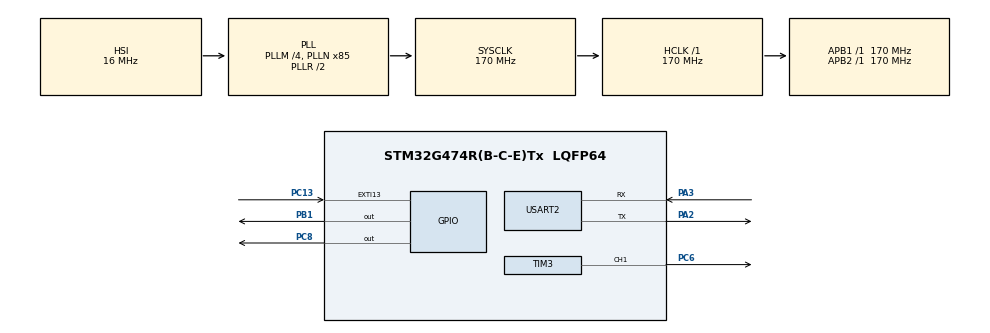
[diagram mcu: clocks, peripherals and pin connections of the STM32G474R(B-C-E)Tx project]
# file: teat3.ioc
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Mcu.Family=STM32G4
Mcu.Name=STM32G474R(B-C-E)Tx
Mcu.Package=LQFP64
NVIC.EXTI15_10_IRQn=true\:1\:0\:true\:false\:true\:true\:true\:true
NVIC.PriorityGroup=NVIC_PRIORITYGROUP_4
PA13.GPIO_Label=T_SWDIO
PA13.Signal=SYS_JTMS-SWDIO
PA14.GPIO_Label=T_SWCLK
PA14.Signal=SYS_JTCK-SWCLK
PA2.Mode=Asynchronous
PA2.Signal=USART2_TX
PA3.Mode=Asynchronous
PA3.Signal=USART2_RX
PB1.Signal=GPIO_Output
PB3.GPIO_Label=T_SWO
PB3.Signal=SYS_JTDO-SWO
PC13.GPIO_ModeDefaultEXTI=GPIO_MODE_IT_FALLING
PC13.Signal=GPXTI13
PC14-OSC32_IN.GPIO_Label=RCC_OSC32_IN
PC14-OSC32_IN.Signal=RCC_OSC32_IN
PC15-OSC32_OUT.GPIO_Label=RCC_OSC32_OUT
PC15-OSC32_OUT.Signal=RCC_OSC32_OUT
PC6.Signal=S_TIM3_CH1
PC8.Signal=GPIO_Output
PF0-OSC_IN.GPIO_Label=RCC_OSC_IN
PF0-OSC_IN.Signal=RCC_OSC_IN
PF1-OSC_OUT.GPIO_Label=RCC_OSC_OUT
PF1-OSC_OUT.Signal=RCC_OSC_OUT
ProjectManager.HeapSize=0x200
ProjectManager.StackSize=0x400
ProjectManager.TargetToolchain=STM32CubeIDE
RCC.ADC12Freq_Value=170000000
RCC.ADC345Freq_Value=170000000
RCC.AHBFreq_Value=170000000
RCC.APB1Freq_Value=170000000
RCC.APB1TimFreq_Value=170000000
RCC.APB2Freq_Value=170000000
RCC.APB2TimFreq_Value=170000000
RCC.CortexFreq_Value=170000000
RCC.EXTERNAL_CLOCK_VALUE=12288000
RCC.HCLKFreq_Value=170000000
RCC.HSE_VALUE=24000000
RCC.HSI48_VALUE=48000000
RCC.HSI_VALUE=16000000
RCC.LSE_VALUE=32768
RCC.PLLM=RCC_PLLM_DIV4
RCC.PLLN=85
RCC.RTCClockSelection=RCC_RTCCLKSOURCE_LSE
RCC.SYSCLKFreq_VALUE=170000000
RCC.SYSCLKSource=RCC_SYSCLKSOURCE_PLLCLK
RCC.USBFreq_Value=170000000
RCC.VCOOutputFreq_Value=340000000
SH.S_TIM3_CH1.0=TIM3_CH1,PWM Generation1 CH1
TIM3.Channel-PWM\ Generation1\ CH1=TIM_CHANNEL_1
TIM3.Prescaler=169
USART2.VirtualMode-Asynchronous=VM_ASYNC
VP_SYS_VS_DBSignals.Mode=DisableDeadBatterySignals
board=NUCLEO-G474RE

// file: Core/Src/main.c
/* USER CODE BEGIN Header */
/**
  ******************************************************************************
  * @file           : main.c
  * @brief          : 30秒或輸錯5次雙燈恆亮（PC13直接關燈）
  ******************************************************************************
  * @attention
  *
  * Copyright (c) 2026 STMicroelectronics.
  * All rights reserved.
  *
  * This software is licensed under terms that can be found in the LICENSE file
  * in the root directory of this software component.
  * If no LICENSE file comes with this software, it is provided AS-IS.
  *
  ******************************************************************************
  */
/* USER CODE END Header */
#include "main.h"
#include <string.h>   // strlen()、strcmp()
#include <stdio.h>    // snprintf()
TIM_HandleTypeDef htim3;
UART_HandleTypeDef huart2;
/* USER CODE BEGIN PV */
uint8_t rx;
char password[32];
uint8_t index_rx = 0;
volatile uint8_t button_event = 0;
volatile uint32_t button_tick = 0;
uint8_t alarm_on = 1;
uint8_t errors = 0;
uint8_t duty = 0;
uint8_t direction = 1;
uint32_t blink_ms = 500;
uint32_t blink_tick = 0;
uint32_t breath_tick = 0;
/* HAL_GetTick()單位為毫秒，30000ms = 30秒。
   challenge_timeout=1代表逾時且雙燈恆亮；
   alarm_on=0代表一般閃爍/呼吸不再執行。 */
#define CHALLENGE_TIMEOUT_MS 30000UL
uint32_t challenge_start_tick = 0;
uint8_t challenge_timeout = 0;
uint8_t attempts_exhausted = 0; /* 錯5次鎖定 */
uint8_t buzzer_active = 0;
uint32_t buzzer_start_tick = 0;
/* USER CODE END PV */
void SystemClock_Config(void);
static void MX_GPIO_Init(void);
static void MX_TIM3_Init(void);
static void MX_USART2_UART_Init(void);
/* USER CODE BEGIN 0 */
/* 本程式使用：
   PC8：外接警示LED，GPIO輸出。
   PC6：TIM3_CH1，PWM控制外接LED。
   PC13：USER按鈕，EXTI下降緣中斷。
   USART2：115200、8N1，透過ST-LINK虛擬COM輸入密碼。
   注意：外部中斷處理函式和TIM3/USART2底層腳位配置
   仍需保留CubeIDE專案其他自動產生的檔案。
   PWM腳位於本檔直接設定為PC6，不呼叫原本的PA6 PostInit。 */
/* PB1 控制有源蜂鳴器（僅提供控制訊號，接線須符合電氣規格）。 */
void BuzzerStop(void)
{
    HAL_GPIO_WritePin(GPIOB, GPIO_PIN_1, GPIO_PIN_RESET);
    buzzer_active = 0;
}

void BuzzerStart2s(void)
{
    buzzer_start_tick = HAL_GetTick();
    buzzer_active = 1;
    HAL_GPIO_WritePin(GPIOB, GPIO_PIN_1, GPIO_PIN_SET);
}

void BuzzerUpdate(void)
{
    if (buzzer_active &&
        (uint32_t)(HAL_GetTick() - buzzer_start_tick) >= 2000UL)
    {
        BuzzerStop();
    }
}

void Send(char *s)
{
    HAL_UART_Transmit(&huart2,
        (uint8_t *)s, strlen(s), 100);
}
/* TIM3_CH1 PWM占空比：ARR=999，percent*10約對應0~100%。
   PC6接外部LED（需串聯限流電阻），數值越大越亮。 */
void SetPWM(uint8_t percent)
{
    if (percent > 100) percent = 100;
    __HAL_TIM_SET_COMPARE(&htim3,
        TIM_CHANNEL_1, percent * 10);
}
/* 停止挑戰：alarm_on=0 使主迴圈不再閃爍或呼吸；
   PC8 輸出低電位、PC6 PWM 占空比設為0，兩顆燈熄滅。
   PC13 按下與正確密碼都會呼叫此函式。 */
void StopAlarm(void)
{
    BuzzerStop();
    alarm_on = 0;
    challenge_timeout = 0;
    attempts_exhausted = 0;
    duty = 0;
    HAL_GPIO_WritePin(GPIOC, GPIO_PIN_8,
                      GPIO_PIN_RESET);
    SetPWM(0);
}
/* 初始化挑戰：重設錯誤次數、呼吸方向、閃爍間隔；
   記錄 HAL_GetTick() 當作30秒倒數起點。
   本版本只在開機時呼叫，不會由 PC13 重新啟動。 */
void StartAlarm(void)
{
    BuzzerStop();
    alarm_on = 1;
    challenge_timeout = 0;
    attempts_exhausted = 0;
    challenge_start_tick = HAL_GetTick();
    errors = 0;
    duty = 0;
    direction = 1;
    blink_ms = 500;
    blink_tick = HAL_GetTick();
    breath_tick = HAL_GetTick();
    HAL_GPIO_WritePin(GPIOC, GPIO_PIN_8,
                      GPIO_PIN_RESET);
    SetPWM(0);
}
/* 30秒逾時：關閉一般動畫更新，讓PC8固定高電位；
   PC6 PWM 設100%占空比，因此外接LED持續亮著。
   仍可透過PC13呼叫StopAlarm()使兩顆燈熄滅。 */
void EnterTimeoutState(void)
{
    challenge_timeout = 1;
    alarm_on = 0; /* 停止原本的閃爍與呼吸更新 */
    HAL_GPIO_WritePin(GPIOC, GPIO_PIN_8, GPIO_PIN_SET);
    SetPWM(100);
    BuzzerStart2s();
    Send("TIMEOUT:Both LEDs ON\r\n");
}
/* 輸錯5次時，兩顆LED固定全亮；只有PC13或RESET可停止。 */
void EnterWrongLimitState(void)
{
    attempts_exhausted = 1;
    alarm_on = 0;
    HAL_GPIO_WritePin(GPIOC, GPIO_PIN_8, GPIO_PIN_SET);
    SetPWM(100);
    BuzzerStart2s();
    Send("FAILED:5 wrong attempts,Both LEDs ON\r\n");
}
/* UART 收到換行後檢查密碼：
   1. 逾時：拒絕再解除；2. 停止：回報已關閉；
   3. 正確1234：兩燈熄滅；4. 錯誤：加快PC8、提高PC6亮度上限。 */
void CheckPassword(void)
{
    char msg[80];
    if (challenge_timeout)
    {
        Send("TIMEOUT:Press PC13 to stop\r\n");
    }
    else if (attempts_exhausted)
    {
        Send("FAILED:Press PC13 to stop\r\n");
    }
    else if (!alarm_on)
    {
        Send("Alarm is OFF\r\n");
    }
    else if (!strcmp(password, "1234"))
    {
        StopAlarm();
        Send("OK:Alarm OFF\r\n");
    }
    else if (alarm_on)
    {
        if (errors < 5) errors++;
        blink_ms = errors >= 4
                 ? 100 : 500 - errors * 100;
        snprintf(msg, sizeof(msg),
            "WRONG:%lu,DUTY:%u,COUNT:%u\r\n",
            (unsigned long)blink_ms,
            errors * 20, errors);
        Send(msg);
        /* 第五次輸錯立即固定雙燈全亮 */
        if (errors >= 5)
        {
            EnterWrongLimitState();
        }
    }
    else
    {
        Send("Alarm is OFF\r\n");
    }
}
/* PC13 下降緣外部中斷：200ms 防彈跳。
   中斷中只設定 button_event，避免在中斷內執行UART傳送。 */
void HAL_GPIO_EXTI_Callback(uint16_t pin)
{
    uint32_t now = HAL_GetTick();
    if (pin == GPIO_PIN_13 &&
        (uint32_t)(now - button_tick) >= 200)
    {
        button_tick = now;
        button_event = 1;
    }
}
/* USER CODE END 0 */
int main(void)
{
  /* MCU Configuration--------------------------------------------------------*/
  /* Reset of all peripherals, Initializes the Flash interface and the Systick. */
  HAL_Init();
  /* Configure the system clock */
  SystemClock_Config();
  /* Initialize all configured peripherals */
  MX_GPIO_Init();
  MX_TIM3_Init();
  MX_USART2_UART_Init();
  /* USER CODE BEGIN 2 */
  HAL_TIM_PWM_Start(&htim3, TIM_CHANNEL_1);
  /* 初始化警報、呼吸燈與30秒倒數起點 */
  StartAlarm();
  Send("STM32 Alarm Ready\r\n");
  Send("30-second challenge started\r\n");
  /* USER CODE END 2 */
  /* Infinite loop */
  while (1)
  {
	  if (button_event)
	  {
	      button_event = 0;
          /* PC13 僅能停止，不會再次啟動挑戰 */
          StopAlarm();
          Send("Button: Alarm OFF\r\n");
	  }
	  /* USART2 非阻塞輪詢：每次取1 byte；遇到換行才驗證。
       使用32-byte緩衝區，超長輸入會清空並回報。 */
	  if (HAL_UART_Receive(&huart2, &rx, 1, 0)
	      == HAL_OK)
	  {
	      if (rx == '\r' || rx == '\n')
	      {
	          if (index_rx)
	          {
	              password[index_rx] = '\0';
	              if (alarm_on && !challenge_timeout &&
	                  (uint32_t)(HAL_GetTick() - challenge_start_tick) >= CHALLENGE_TIMEOUT_MS)
	              {
	                  EnterTimeoutState();
	              }
	              CheckPassword();
	              index_rx = 0;
	          }
	      }
	      else if (index_rx < sizeof(password) - 1)
	      {
	          password[index_rx++] = rx;
	      }
	      else
	      {
	          index_rx = 0;
	          Send("Input too long\r\n");
	      }
	  }
	  /* 30秒倒數：用HAL_GetTick()的毫秒差判斷是否到時；
       不用HAL_Delay()，因此期間仍可收密碼與處理PC13。 */
	  uint32_t now = HAL_GetTick();
	  if (alarm_on && !challenge_timeout &&
	      (uint32_t)(now - challenge_start_tick) >= CHALLENGE_TIMEOUT_MS)
	  {
	      EnterTimeoutState();
	  }
	  /* alarm_on為1才更新燈號；正確密碼、PC13或逾時後均停止。
       PC8依blink_ms翻轉；PC6每20ms調整PWM形成呼吸效果。 */
	  if (alarm_on)
	  {
	      if (now - blink_tick >= blink_ms)
	      {
	          blink_tick = now;
	          HAL_GPIO_TogglePin(GPIOC, GPIO_PIN_8);
	      }
	      if (alarm_on && errors > 0 && now - breath_tick >= 20)
	          {
	              breath_tick = now;
	              if (direction)
	              {
	                  if (duty < 100) duty++;
	                  if (duty >= 100) direction = 0;
	              }
	              else
	              {
	                  if (duty > 0) duty--;
	                  if (duty == 0) direction = 1;
	              }
	              uint8_t max_duty =
	                  (errors >= 5) ? 100 : errors * 20;
	              uint8_t actual_duty =
	                  5 + (uint16_t)duty * (max_duty - 5) / 100;
	              SetPWM(actual_duty);
	          }
	  }
    BuzzerUpdate();
  }
}
void SystemClock_Config(void)
{
  RCC_OscInitTypeDef RCC_OscInitStruct = {0};
  RCC_ClkInitTypeDef RCC_ClkInitStruct = {0};
  /** Configure the main internal regulator output voltage
  */
  HAL_PWREx_ControlVoltageScaling(PWR_REGULATOR_VOLTAGE_SCALE1_BOOST);
  /** Initializes the RCC Oscillators according to the specified parameters
  * in the RCC_OscInitTypeDef structure.
  */
  RCC_OscInitStruct.OscillatorType = RCC_OSCILLATORTYPE_HSI;
  RCC_OscInitStruct.HSIState = RCC_HSI_ON;
  RCC_OscInitStruct.HSICalibrationValue = RCC_HSICALIBRATION_DEFAULT;
  RCC_OscInitStruct.PLL.PLLState = RCC_PLL_ON;
  RCC_OscInitStruct.PLL.PLLSource = RCC_PLLSOURCE_HSI;
  RCC_OscInitStruct.PLL.PLLM = RCC_PLLM_DIV4;
  RCC_OscInitStruct.PLL.PLLN = 85;
  RCC_OscInitStruct.PLL.PLLP = RCC_PLLP_DIV2;
  RCC_OscInitStruct.PLL.PLLQ = RCC_PLLQ_DIV2;
  RCC_OscInitStruct.PLL.PLLR = RCC_PLLR_DIV2;
  if (HAL_RCC_OscConfig(&RCC_OscInitStruct) != HAL_OK)
  {
    Error_Handler();
  }
  /** Initializes the CPU, AHB and APB buses clocks
  */
  RCC_ClkInitStruct.ClockType = RCC_CLOCKTYPE_HCLK|RCC_CLOCKTYPE_SYSCLK
                              |RCC_CLOCKTYPE_PCLK1|RCC_CLOCKTYPE_PCLK2;
  RCC_ClkInitStruct.SYSCLKSource = RCC_SYSCLKSOURCE_PLLCLK;
  RCC_ClkInitStruct.AHBCLKDivider = RCC_SYSCLK_DIV1;
  RCC_ClkInitStruct.APB1CLKDivider = RCC_HCLK_DIV1;
  RCC_ClkInitStruct.APB2CLKDivider = RCC_HCLK_DIV1;
  if (HAL_RCC_ClockConfig(&RCC_ClkInitStruct, FLASH_LATENCY_4) != HAL_OK)
  {
    Error_Handler();
  }
}
static void MX_TIM3_Init(void)
{
  TIM_MasterConfigTypeDef sMasterConfig = {0};
  TIM_OC_InitTypeDef sConfigOC = {0};
  htim3.Instance = TIM3;
  htim3.Init.Prescaler = 169;
  htim3.Init.CounterMode = TIM_COUNTERMODE_UP;
  htim3.Init.Period = 999;
  htim3.Init.ClockDivision = TIM_CLOCKDIVISION_DIV1;
  htim3.Init.AutoReloadPreload = TIM_AUTORELOAD_PRELOAD_DISABLE;
  if (HAL_TIM_PWM_Init(&htim3) != HAL_OK)
  {
    Error_Handler();
  }
  sMasterConfig.MasterOutputTrigger = TIM_TRGO_RESET;
  sMasterConfig.MasterSlaveMode = TIM_MASTERSLAVEMODE_DISABLE;
  if (HAL_TIMEx_MasterConfigSynchronization(&htim3, &sMasterConfig) != HAL_OK)
  {
    Error_Handler();
  }
  sConfigOC.OCMode = TIM_OCMODE_PWM1;
  sConfigOC.Pulse = 0;
  sConfigOC.OCPolarity = TIM_OCPOLARITY_HIGH;
  sConfigOC.OCFastMode = TIM_OCFAST_DISABLE;
  if (HAL_TIM_PWM_ConfigChannel(&htim3, &sConfigOC, TIM_CHANNEL_1) != HAL_OK)
  {
    Error_Handler();
  }
  /* PC6 = TIM3_CH1 (AF2). Configure here instead of the old PA6 PostInit. */
    __HAL_RCC_GPIOC_CLK_ENABLE();
    GPIO_InitTypeDef PWM_GPIO_InitStruct = {0};
    PWM_GPIO_InitStruct.Pin = GPIO_PIN_6;
    PWM_GPIO_InitStruct.Mode = GPIO_MODE_AF_PP;
    PWM_GPIO_InitStruct.Pull = GPIO_NOPULL;
    PWM_GPIO_InitStruct.Speed = GPIO_SPEED_FREQ_LOW;
    PWM_GPIO_InitStruct.Alternate = GPIO_AF2_TIM3;
    HAL_GPIO_Init(GPIOC, &PWM_GPIO_InitStruct);
}
static void MX_USART2_UART_Init(void)
{
  huart2.Instance = USART2;
  huart2.Init.BaudRate = 115200;
  huart2.Init.WordLength = UART_WORDLENGTH_8B;
  huart2.Init.StopBits = UART_STOPBITS_1;
  huart2.Init.Parity = UART_PARITY_NONE;
  huart2.Init.Mode = UART_MODE_TX_RX;
  huart2.Init.HwFlowCtl = UART_HWCONTROL_NONE;
  huart2.Init.OverSampling = UART_OVERSAMPLING_16;
  huart2.Init.OneBitSampling = UART_ONE_BIT_SAMPLE_DISABLE;
  huart2.Init.ClockPrescaler = UART_PRESCALER_DIV1;
  huart2.AdvancedInit.AdvFeatureInit = UART_ADVFEATURE_NO_INIT;
  if (HAL_UART_Init(&huart2) != HAL_OK)
  {
    Error_Handler();
  }
  if (HAL_UARTEx_SetTxFifoThreshold(&huart2, UART_TXFIFO_THRESHOLD_1_8) != HAL_OK)
  {
    Error_Handler();
  }
  if (HAL_UARTEx_SetRxFifoThreshold(&huart2, UART_RXFIFO_THRESHOLD_1_8) != HAL_OK)
  {
    Error_Handler();
  }
  if (HAL_UARTEx_DisableFifoMode(&huart2) != HAL_OK)
  {
    Error_Handler();
  }
}
static void MX_GPIO_Init(void)
{
  GPIO_InitTypeDef GPIO_InitStruct = {0};
  /* GPIO Ports Clock Enable */
  __HAL_RCC_GPIOC_CLK_ENABLE();
  __HAL_RCC_GPIOF_CLK_ENABLE();
  __HAL_RCC_GPIOA_CLK_ENABLE();
  __HAL_RCC_GPIOB_CLK_ENABLE();
  /*Configure GPIO pin Output Level */
  HAL_GPIO_WritePin(GPIOC, GPIO_PIN_8, GPIO_PIN_RESET);
  HAL_GPIO_WritePin(GPIOB, GPIO_PIN_1, GPIO_PIN_RESET);
  /*Configure GPIO pin : PC13 */
  GPIO_InitStruct.Pin = GPIO_PIN_13;
  GPIO_InitStruct.Mode = GPIO_MODE_IT_FALLING;
  GPIO_InitStruct.Pull = GPIO_NOPULL;
  HAL_GPIO_Init(GPIOC, &GPIO_InitStruct);
  /*Configure GPIO pin : PC8 */
  GPIO_InitStruct.Pin = GPIO_PIN_8;
  GPIO_InitStruct.Mode = GPIO_MODE_OUTPUT_PP;
  GPIO_InitStruct.Pull = GPIO_NOPULL;
  GPIO_InitStruct.Speed = GPIO_SPEED_FREQ_LOW;
  HAL_GPIO_Init(GPIOC, &GPIO_InitStruct);
  /* PB1: 有源蜂鳴器控制 GPIO */
  GPIO_InitStruct.Pin = GPIO_PIN_1;
  GPIO_InitStruct.Mode = GPIO_MODE_OUTPUT_PP;
  GPIO_InitStruct.Pull = GPIO_NOPULL;
  GPIO_InitStruct.Speed = GPIO_SPEED_FREQ_LOW;
  HAL_GPIO_Init(GPIOB, &GPIO_InitStruct);
  /* EXTI interrupt init*/
  HAL_NVIC_SetPriority(EXTI15_10_IRQn, 1, 0);
  HAL_NVIC_EnableIRQ(EXTI15_10_IRQn);
}
void Error_Handler(void)
{
  __disable_irq();
  while (1)
  {
  }
}
